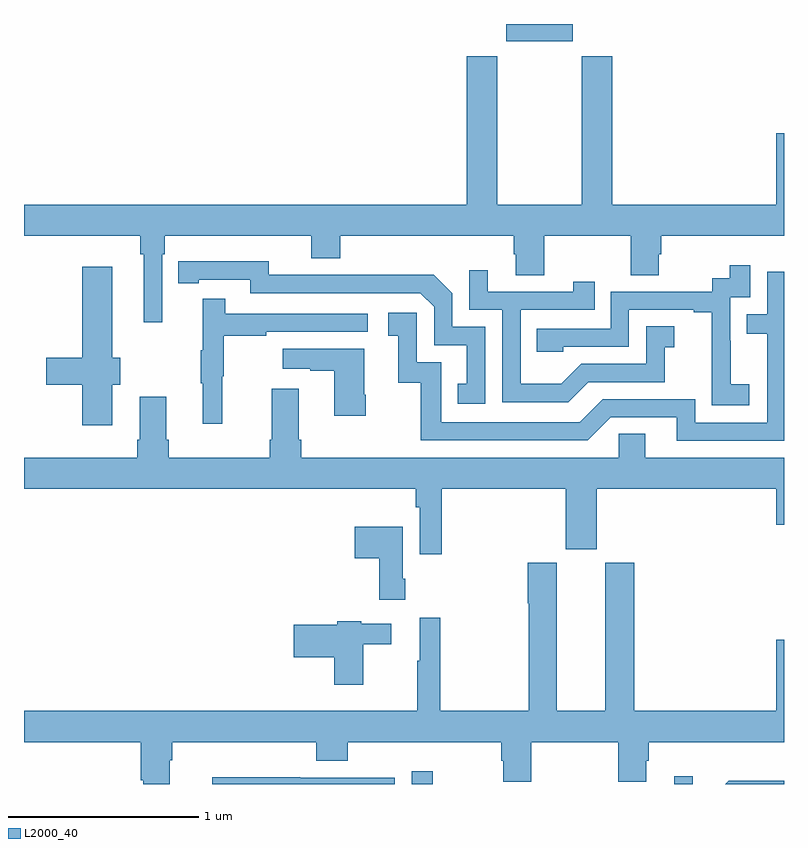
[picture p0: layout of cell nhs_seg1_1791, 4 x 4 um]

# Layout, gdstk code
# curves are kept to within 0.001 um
import gdstk
lib = gdstk.Library(unit=1e-6, precision=1e-09)
def R(c, l, rs):  # rectangles x0, y0, x1, y1
    for r in rs: c.add(gdstk.rectangle(r[:2], r[2:], *l))
def P(c, l, *ps):  # polygons
    for p in ps: c.add(gdstk.Polygon(p, *l))
L2000_40 = (2000, 40)

nhs_seg1_1791 = lib.new_cell('nhs_seg1_1791')
R(nhs_seg1_1791, L2000_40, [(211.041,530.199,211.15,530.266), (212.423,530.199,212.52,530.239), (211.538,534.107,211.888,534.199)])
P(nhs_seg1_1791, L2000_40, [(209,533.084),(209.611,533.084),(209.611,532.988),(209.63,532.988),(209.63,532.629),(209.727,532.629),(209.727,532.988),(209.741,532.988),(209.741,533.084),(210.512,533.084),(210.512,532.967),(210.665,532.967),(210.665,533.084),(211.577,533.084),(211.577,532.986),(211.589,532.986),(211.589,532.876),(211.737,532.876),(211.737,533.084),(212.194,533.084),(212.194,532.876),(212.341,532.876),(212.341,532.986),(212.354,532.986),(212.354,533.084),(213,533.084),(213,533.623),(212.96,533.623),(212.96,533.248),(212.096,533.248),(212.096,534.028),(211.936,534.028),(211.936,533.248),(211.491,533.248),(211.491,534.028),(211.331,534.028),(211.331,533.248),(209,533.248)],
  [(211.428,532.605),(211.254,532.605),(211.254,532.782),(211.156,532.88),(210.748,532.88),(210.748,532.878),(210.288,532.878),(210.288,532.951),(209.812,532.95),(209.812,532.834),(209.92,532.834),(209.92,532.854),(210.192,532.854),(210.192,532.782),(211.086,532.782),(211.158,532.71),(211.158,532.509),(211.331,532.509),(211.331,532.305),(211.282,532.305),(211.282,532.2),(211.428,532.2)],
  [(212.818,532.303),(212.72,532.303),(212.72,532.532),(212.718,532.532),(212.718,532.761),(212.823,532.761),(212.823,532.93),(212.715,532.93),(212.715,532.86),(212.622,532.86),(212.622,532.791),(212.088,532.791),(212.088,532.596),(211.699,532.596),(211.699,532.473),(211.839,532.473),(211.839,532.5),(212.184,532.5),(212.184,532.695),(212.525,532.695),(212.525,532.683),(212.621,532.683),(212.621,532.399),(212.62,532.399),(212.62,532.193),(212.818,532.193)],
  [(209.464,532.3),(209.506,532.3),(209.506,532.442),(209.464,532.442),(209.464,532.921),(209.306,532.921),(209.306,532.442),(209.118,532.442),(209.118,532.3),(209.306,532.3),(209.306,532.086),(209.464,532.086)],
  [(211.969,532.314),(212.373,532.314),(212.373,532.499),(212.422,532.499),(212.422,532.609),(212.274,532.609),(212.274,532.41),(211.932,532.41),(211.828,532.306),(211.614,532.306),(211.614,532.695),(212.003,532.695),(212.003,532.843),(211.892,532.843),(211.892,532.791),(211.441,532.791),(211.441,532.903),(211.344,532.903),(211.344,532.695),(211.518,532.695),(211.518,532.209),(211.864,532.209)],
  [(213,532.896),(212.913,532.896),(212.913,532.671),(212.803,532.671),(212.803,532.57),(212.913,532.57),(212.913,532.101),(212.532,532.101),(212.532,532.224),(212.046,532.224),(211.926,532.104),(211.197,532.104),(211.197,532.419),(211.068,532.419),(211.068,532.678),(210.918,532.678),(210.918,532.557),(210.971,532.557),(210.971,532.311),(211.089,532.311),(211.089,532.008),(211.968,532.008),(212.088,532.128),(212.435,532.128),(212.435,532.005),(213,532.005)],
  [(210.044,532.344),(210.052,532.344),(210.052,532.558),(210.275,532.558),(210.275,532.578),(210.808,532.578),(210.808,532.674),(210.059,532.674),(210.059,532.753),(209.942,532.753),(209.942,532.481),(209.931,532.481),(209.931,532.307),(209.942,532.307),(209.942,532.095),(210.044,532.095)],
  [(210.798,532.249),(210.79,532.249),(210.79,532.489),(210.363,532.489),(210.363,532.385),(210.506,532.385),(210.506,532.375),(210.632,532.375),(210.632,532.137),(210.798,532.137)],
  [(211.199,531.752),(211.85,531.752),(211.85,531.435),(212.014,531.435),(212.014,531.752),(212.96,531.752),(212.96,531.564),(213,531.564),(213,531.916),(212.269,531.916),(212.269,532.043),(212.13,532.043),(212.13,531.916),(210.458,531.916),(210.458,532.012),(210.445,532.012),(210.445,532.279),(210.305,532.279),(210.305,532.012),(210.293,532.012),(210.293,531.916),(209.762,531.916),(209.762,532.012),(209.749,532.012),(209.749,532.237),(209.609,532.237),(209.609,532.012),(209.597,532.012),(209.597,531.916),(209,531.916),(209,531.752),(211.063,531.752),(211.063,531.656),(211.083,531.656),(211.083,531.408),(211.199,531.408)],
  [(211.007,531.28),(210.994,531.28),(210.994,531.553),(210.741,531.553),(210.741,531.386),(210.869,531.386),(210.869,531.168),(211.007,531.168)],
  [(212.213,531.363),(212.06,531.363),(212.06,530.584),(211.804,530.584),(211.804,531.363),(211.652,531.363),(211.652,531.151),(211.657,531.151),(211.657,530.584),(211.192,530.584),(211.192,531.073),(211.082,531.073),(211.082,530.849),(211.071,530.849),(211.071,530.584),(209,530.584),(209,530.42),(209.615,530.42),(209.615,530.218),(209.627,530.218),(209.627,530.199),(209.767,530.199),(209.767,530.324),(209.78,530.324),(209.78,530.42),(210.539,530.42),(210.539,530.321),(210.704,530.321),(210.704,530.42),(211.511,530.42),(211.511,530.322),(211.523,530.322),(211.523,530.212),(211.671,530.212),(211.671,530.42),(212.128,530.42),(212.128,530.212),(212.275,530.212),(212.275,530.322),(212.288,530.322),(212.288,530.42),(213,530.42),(213,530.959),(212.96,530.959),(212.96,530.584),(212.213,530.584)],
  [(210.786,530.934),(210.934,530.934),(210.934,531.042),(210.774,531.042),(210.774,531.055),(210.648,531.055),(210.648,531.038),(210.42,531.038),(210.42,530.867),(210.632,530.867),(210.632,530.721),(210.786,530.721)],
  [(210.951,530.232),(210.455,530.232),(210.455,530.234),(209.992,530.234),(209.992,530.199),(210.951,530.199)],
  [(213,530.216),(212.708,530.216),(212.691,530.199),(213,530.199)])

lib.write_gds('nhs_seg1_1791.gds')
